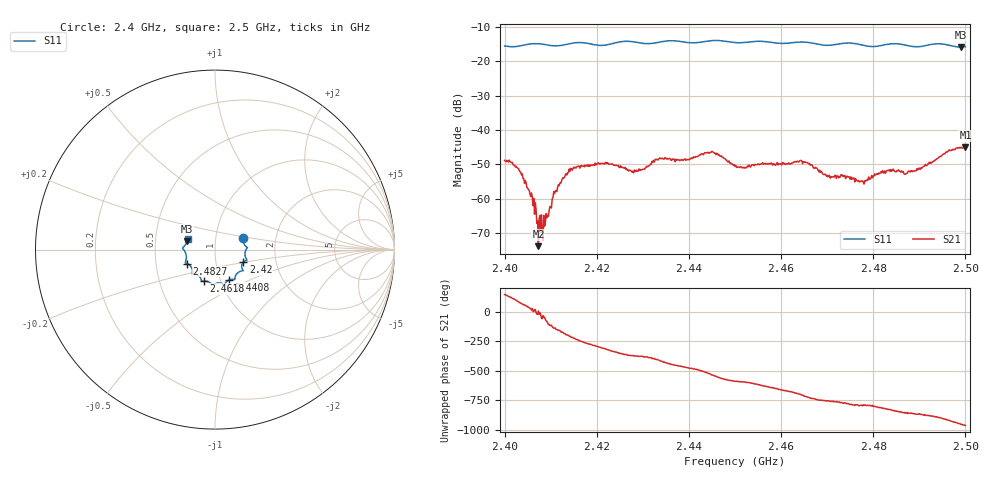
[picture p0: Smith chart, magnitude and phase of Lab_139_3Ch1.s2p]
# Hz S RI R 50
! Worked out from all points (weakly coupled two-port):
!   601 points, 2.4 GHz to 2.5 GHz, reference 50 ohm
!   highest |S21| = -44.99 dB at 2.5 GHz (marker M1); lowest = -73.8 dB at 2.4073 GHz (marker M2)
!   lowest |S11| = -15.8 dB at 2.499 GHz (marker M3), VSWR 1.39, Z = 36.5 + j3.51 ohm
!   |S11| at or under -10 dB: start of sweep to end of sweep
!   S12 and S22 are empty: the file has one direction only
!   S11 on the Smith chart (normalised r, x): 2.4 GHz: 1.36, +0.17; 2.42 GHz: 1.36, -0.19; 2.4408 GHz: 1.10, -0.39; 2.4618 GHz: 0.84, -0.30; 2.4827 GHz: 0.72, -0.12; 2.5 GHz: 0.73, +0.09
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2.4e9  0.156 0.0622  -0.00308 0.0019  0 0  0 0
2.403333e9  0.1664 0.0239  0.000522 0.00243  0 0  0 0
2.405833e9  0.1796 0.0126  0.00117 0.000338  0 0  0 0
2.407333e9  0.1807 0.0101  0.000202 2.75e-05  0 0  0 0
2.408667e9  0.1763 0.00464  0.000284 -0.00028  0 0  0 0
2.410833e9  0.1676 -0.0154  -0.00088 -0.000799  0 0  0 0
2.412833e9  0.1692 -0.0392  -0.00199 7.86e-05  0 0  0 0
2.416667e9  0.1783 -0.0595  -0.00101 0.00285  0 0  0 0
2.42e9  0.1581 -0.0693  0.00122 0.00297  0 0  0 0
2.428e9  0.1521 -0.1183  0.00232 -0.000579  0 0  0 0
2.433333e9  0.1121 -0.1521  0.00245 -0.00275  0 0  0 0
2.440833e9  0.0789 -0.169  -0.00206 -0.0033  0 0  0 0
2.445167e9  0.0531 -0.1939  -0.00481 -0.000258  0 0  0 0
2.45e9  0.0278 -0.1859  -0.00192 0.00224  0 0  0 0
2.461833e9  -0.0602 -0.1752  0.00243 0.00209  0 0  0 0
2.466667e9  -0.0771 -0.1684  0.00301 -0.000814  0 0  0 0
2.4775e9  -0.1252 -0.1199  0.000556 -0.00174  0 0  0 0
2.482667e9  -0.1572 -0.078  -0.000515 -0.0023  0 0  0 0
2.483333e9  -0.1613 -0.0765  -0.000771 -0.00245  0 0  0 0
2.488833e9  -0.1593 -0.0388  -0.00208 -0.00147  0 0  0 0
2.499e9  -0.1545 0.0469  -0.00318 0.00462  0 0  0 0
2.5e9  -0.1518 0.0615  -0.00234 0.00512  0 0  0 0
